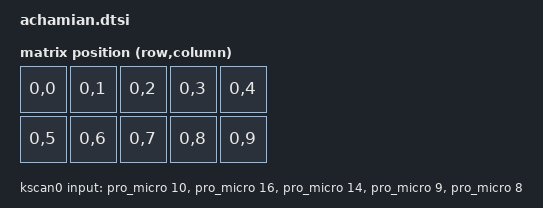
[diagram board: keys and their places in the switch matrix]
#include <dt-bindings/zmk/matrix_transform.h>

/ {
    chosen {
        zephyr,display = &oled;
        zmk,kscan = &kscan0;
        zmk,matrix-transform = &default_transform;
    };

    default_transform: keymap_transform_0 {
        compatible = "zmk,matrix-transform";
        columns = <10>;
        rows = <1>;
        map = <
RC(0,0) RC(0,1) RC(0,2) RC(0,3) RC(0,4) 
RC(0,5) RC(0,6) RC(0,7) RC(0,8) RC(0,9)
        >;
    };

    kscan0: kscan {
        compatible = "zmk,kscan-gpio-direct";
        wakeup-source;

        input-gpios
            = <&pro_micro 10 (GPIO_ACTIVE_LOW | GPIO_PULL_UP)>
            , <&pro_micro 16 (GPIO_ACTIVE_LOW | GPIO_PULL_UP)>
            , <&pro_micro 14 (GPIO_ACTIVE_LOW | GPIO_PULL_UP)>
            , <&pro_micro 9 (GPIO_ACTIVE_LOW | GPIO_PULL_UP)>
            , <&pro_micro 8 (GPIO_ACTIVE_LOW | GPIO_PULL_UP)>
            ;
    };
};

&pro_micro_i2c {
    status = "okay";

    oled: ssd1306@3c {
        compatible = "solomon,ssd1306fb";
        reg = <0x3c>;
        width = <128>;
        height = <32>;
        segment-offset = <0>;
        page-offset = <0>;
        display-offset = <0>;
        multiplex-ratio = <31>;
        segment-remap;
        com-invdir;
        com-sequential;
        inversion-on;
        prechargep = <0x22>;
    };
};
